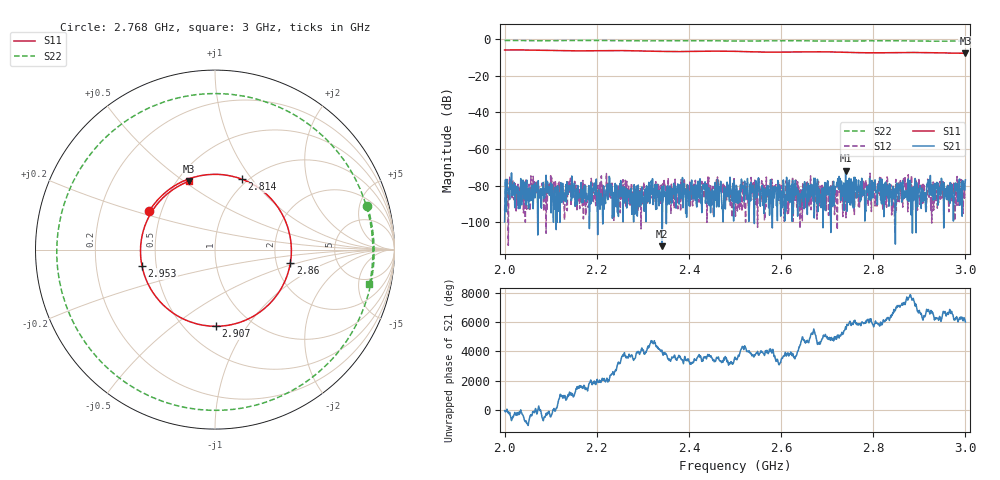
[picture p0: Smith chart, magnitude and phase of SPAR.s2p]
!Keysight Technologies,E5071C,MY46736101,B.14.08
!Date: Wed Oct 16 19:22:7 2019
!Data & Calibration Information:
!Freq	S11:NONE(--)	S21:NONE(--)	S12:NONE(--)	S22:NONE(--)
# Hz S RI R 50
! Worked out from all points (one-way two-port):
!   1001 points, 2 GHz to 3 GHz, reference 50 ohm
!   highest |S21| = -71.85 dB at 2.74 GHz (marker M1); lowest = -113.0 dB at 2.342 GHz (marker M2)
!   lowest |S11| = -7.8 dB at 3 GHz (marker M3), VSWR 2.37, Z = 28.6 + j26 ohm
!   |S11| at or under -10 dB: nowhere
!   |S22| runs from -1.2 to -0.8 dB; largest |S21 - S12| = 0.00034
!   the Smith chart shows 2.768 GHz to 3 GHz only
!   S11 on the Smith chart (normalised r, x): 2.768 GHz: 0.43, +0.23; 2.814 GHz: 0.94, +0.90; 2.86 GHz: 2.39, -0.44; 2.907 GHz: 0.70, -0.73; 2.953 GHz: 0.42, -0.09; 3 GHz: 0.57, +0.52
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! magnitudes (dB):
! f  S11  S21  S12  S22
! 2 GHz  -6.0  -99.7  -93.6  -0.8
! 2.076 GHz  -6.2  -83.2  -83.8  -1.0
! 2.105 GHz  -6.3  -89.0  -79.0  -0.9
! 2.126 GHz  -6.4  -78.7  -83.0  -0.9
! 2.167 GHz  -6.5  -89.3  -80.2  -0.8
! 2.334 GHz  -6.7  -82.7  -79.3  -1.0
! 2.342 GHz  -6.8  -113.0  -81.9  -0.9
! 2.5 GHz  -6.7  -87.6  -92.4  -1.1
! 2.667 GHz  -7.0  -79.5  -83.8  -1.0
! 2.74 GHz  -7.3  -71.8  -90.5  -1.2
! 2.768 GHz  -7.5  -77.0  -91.3  -1.1
! 2.814 GHz  -7.5  -76.0  -75.5  -1.0
! 2.822 GHz  -7.5  -79.3  -87.2  -1.0
! 2.834 GHz  -7.5  -91.2  -82.3  -1.0
! 2.86 GHz  -7.4  -78.3  -84.7  -1.0
! 2.871 GHz  -7.4  -83.7  -83.5  -1.0
! 2.875 GHz  -7.4  -87.9  -94.2  -1.0
! 2.907 GHz  -7.4  -88.3  -90.4  -1.2
! 2.953 GHz  -7.6  -103.0  -87.9  -1.2
! 2.975 GHz  -7.7  -86.0  -78.5  -1.2
! 2.986 GHz  -7.8  -86.2  -77.3  -1.1
! 3 GHz  -7.8  -76.8  -77.1  -1.1
